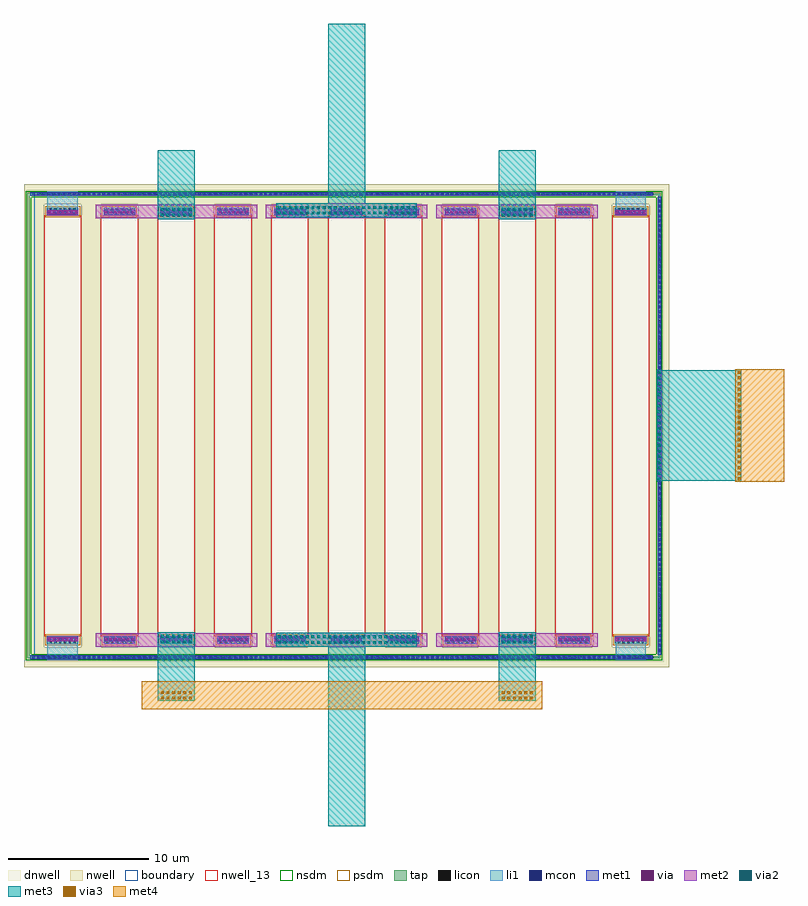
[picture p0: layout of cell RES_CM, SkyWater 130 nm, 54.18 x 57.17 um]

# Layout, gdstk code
from math import pi, radians
import gdstk
lib = gdstk.Library(unit=1e-6, precision=1e-09)
def R(c, l, rs):  # rectangles x0, y0, x1, y1
    for r in rs: c.add(gdstk.rectangle(r[:2], r[2:], *l))
def A(c, l, x, y, w, h, nx, ny, dx, dy):  # array of equal rectangles
    R(c, l, [(x+i*dx, y+j*dy, x+i*dx+w, y+j*dy+h) for i in range(nx) for j in range(ny)])
nwell_13 = (64, 13)
dnwell = (64, 18)
nwell = (64, 20)
tap = (65, 44)
licon = (66, 44)
li1 = (67, 20)
mcon = (67, 44)
met1 = (68, 20)
via = (68, 44)
met2 = (69, 20)
via2 = (69, 44)
met3 = (70, 20)
via3 = (70, 44)
met4 = (71, 20)
nsdm = (93, 44)
psdm = (94, 20)
boundary = (235, 4)

sky130_fd_pr__res_iso_pw = lib.new_cell('sky130_fd_pr__res_iso_pw_2UCCL9')
A(sky130_fd_pr__res_iso_pw, nwell_13, -21.575, -15, 2.65, 30, 11, 1, 4.05, 0)
R(sky130_fd_pr__res_iso_pw, dnwell, [(-22.839,-16.82,22.605,16.82)])
A(sky130_fd_pr__res_iso_pw, nwell, -18.925, -15.79, 1.4, 31.58, 10, 1, 4.05, 0)
R(sky130_fd_pr__res_iso_pw, nwell, [(-23.005,-17.22,23.005,-15.79), (-23.005,-15.79,-21.575,15.79), (21.575,-15.79,23.005,15.79), (-23.005,15.79,23.005,17.22)])
A(sky130_fd_pr__res_iso_pw, tap, -21.375, -15.53, 2.25, 0.53, 11, 2, 4.05, 30.53)
R(sky130_fd_pr__res_iso_pw, tap, [(-22.769,-16.59,22.375,-16.42), (-22.769,-16.589,-22.599,16.585), (22.205,-16.42,22.375,16.42), (-22.768,16.42,22.375,16.59)])
A(sky130_fd_pr__res_iso_pw, licon, -21.845, -16.59, 0.17, 0.17, 129, 2, 0.34, 33.01)
A(sky130_fd_pr__res_iso_pw, licon, 22.205, -16.065, 0.17, 0.17, 1, 95, 0, 0.34)
A(sky130_fd_pr__res_iso_pw, licon, -21.185, -15.52, 0.17, 0.17, 6, 2, 0.34, 0.34)
A(sky130_fd_pr__res_iso_pw, licon, -17.135, -15.52, 0.17, 0.17, 6, 2, 0.34, 0.34)
A(sky130_fd_pr__res_iso_pw, licon, -13.085, -15.52, 0.17, 0.17, 6, 2, 0.34, 0.34)
A(sky130_fd_pr__res_iso_pw, licon, -9.035, -15.52, 0.17, 0.17, 6, 2, 0.34, 0.34)
A(sky130_fd_pr__res_iso_pw, licon, -4.985, -15.52, 0.17, 0.17, 6, 2, 0.34, 0.34)
A(sky130_fd_pr__res_iso_pw, licon, -0.935, -15.52, 0.17, 0.17, 6, 2, 0.34, 0.34)
A(sky130_fd_pr__res_iso_pw, licon, 3.115, -15.52, 0.17, 0.17, 6, 2, 0.34, 0.34)
A(sky130_fd_pr__res_iso_pw, licon, 7.165, -15.52, 0.17, 0.17, 6, 2, 0.34, 0.34)
A(sky130_fd_pr__res_iso_pw, licon, 11.215, -15.52, 0.17, 0.17, 6, 2, 0.34, 0.34)
A(sky130_fd_pr__res_iso_pw, licon, 15.265, -15.52, 0.17, 0.17, 6, 2, 0.34, 0.34)
A(sky130_fd_pr__res_iso_pw, licon, 19.315, -15.52, 0.17, 0.17, 6, 2, 0.34, 0.34)
A(sky130_fd_pr__res_iso_pw, licon, -21.185, 15.01, 0.17, 0.17, 6, 2, 0.34, 0.34)
A(sky130_fd_pr__res_iso_pw, licon, -17.135, 15.01, 0.17, 0.17, 6, 2, 0.34, 0.34)
A(sky130_fd_pr__res_iso_pw, licon, -13.085, 15.01, 0.17, 0.17, 6, 2, 0.34, 0.34)
A(sky130_fd_pr__res_iso_pw, licon, -9.035, 15.01, 0.17, 0.17, 6, 2, 0.34, 0.34)
A(sky130_fd_pr__res_iso_pw, licon, -4.985, 15.01, 0.17, 0.17, 6, 2, 0.34, 0.34)
A(sky130_fd_pr__res_iso_pw, licon, -0.935, 15.01, 0.17, 0.17, 6, 2, 0.34, 0.34)
A(sky130_fd_pr__res_iso_pw, licon, 3.115, 15.01, 0.17, 0.17, 6, 2, 0.34, 0.34)
A(sky130_fd_pr__res_iso_pw, licon, 7.165, 15.01, 0.17, 0.17, 6, 2, 0.34, 0.34)
A(sky130_fd_pr__res_iso_pw, licon, 11.215, 15.01, 0.17, 0.17, 6, 2, 0.34, 0.34)
A(sky130_fd_pr__res_iso_pw, licon, 15.265, 15.01, 0.17, 0.17, 6, 2, 0.34, 0.34)
A(sky130_fd_pr__res_iso_pw, licon, 19.315, 15.01, 0.17, 0.17, 6, 2, 0.34, 0.34)
A(sky130_fd_pr__res_iso_pw, li1, -17.285, -15.53, 2.17, 0.53, 9, 2, 4.05, 30.53)
R(sky130_fd_pr__res_iso_pw, li1, [(-21.335,-16.704,-19.165,-15), (19.165,-16.701,21.335,-15), (-21.335,15,-19.165,16.71)])
A(sky130_fd_pr__res_iso_pw, mcon, -21.235, -15.305, 0.17, 0.17, 6, 2, 0.36, 30.435)
A(sky130_fd_pr__res_iso_pw, mcon, -17.185, -15.305, 0.17, 0.17, 6, 2, 0.36, 30.435)
A(sky130_fd_pr__res_iso_pw, mcon, -13.135, -15.305, 0.17, 0.17, 6, 2, 0.36, 30.435)
A(sky130_fd_pr__res_iso_pw, mcon, -9.085, -15.305, 0.17, 0.17, 6, 2, 0.36, 30.435)
A(sky130_fd_pr__res_iso_pw, mcon, -5.035, -15.305, 0.17, 0.17, 6, 2, 0.36, 30.435)
A(sky130_fd_pr__res_iso_pw, mcon, -0.985, -15.305, 0.17, 0.17, 6, 2, 0.36, 30.435)
A(sky130_fd_pr__res_iso_pw, mcon, 3.065, -15.305, 0.17, 0.17, 6, 2, 0.36, 30.435)
A(sky130_fd_pr__res_iso_pw, mcon, 7.115, -15.305, 0.17, 0.17, 6, 2, 0.36, 30.435)
A(sky130_fd_pr__res_iso_pw, mcon, 11.165, -15.305, 0.17, 0.17, 6, 2, 0.36, 30.435)
A(sky130_fd_pr__res_iso_pw, mcon, 15.215, -15.305, 0.17, 0.17, 6, 2, 0.36, 30.435)
A(sky130_fd_pr__res_iso_pw, mcon, 19.265, -15.305, 0.17, 0.17, 6, 2, 0.36, 30.435)
A(sky130_fd_pr__res_iso_pw, met1, -21.375, -15.38, 2.25, 0.325, 11, 1, 4.05, 0)
R(sky130_fd_pr__res_iso_pw, met1, [(-21.375,15.055,-19.125,15.38), (-21.375,15.055,-19.125,15.38), (-17.325,15.055,-15.075,15.38), (-17.325,15.055,-15.075,15.38), (-13.275,15.055,-11.025,15.38), (-13.275,15.055,-11.025,15.38), (-9.225,15.055,-6.975,15.38), (-9.225,15.055,-6.975,15.38), (-5.175,15.055,-2.925,15.38), (-5.175,15.055,-2.925,15.38), (-1.125,15.055,1.125,15.38), (-1.125,15.055,1.125,15.38), (2.925,15.055,5.175,15.38), (2.925,15.055,5.175,15.38), (6.975,15.055,9.225,15.38), (6.975,15.055,9.225,15.38), (11.025,15.055,13.275,15.38), (11.025,15.055,13.275,15.38), (15.075,15.055,17.325,15.38), (15.075,15.055,17.325,15.38), (19.125,15.055,21.375,15.38)])
R(sky130_fd_pr__res_iso_pw, nsdm, [(-22.892,-16.715,22.5,-16.295), (-22.892,-16.295,-22.472,16.295), (22.08,-16.295,22.5,16.295), (-22.892,16.295,22.5,16.715)])
A(sky130_fd_pr__res_iso_pw, psdm, -21.5, -15.655, 2.5, 0.78, 11, 1, 4.05, 0)
A(sky130_fd_pr__res_iso_pw, psdm, -21.5, 14.875, 2.5, 0.78, 3, 1, 4.05, 0)
A(sky130_fd_pr__res_iso_pw, psdm, -13.4, 14.875, 2.5, 0.78, 4, 1, 4.05, 0)
A(sky130_fd_pr__res_iso_pw, psdm, -1.25, 14.875, 2.5, 0.78, 6, 1, 4.05, 0)
R(sky130_fd_pr__res_iso_pw, boundary, [(-22.29,-16.505,22.29,16.505)])

via_new_10 = lib.new_cell('via_new$10')
A(via_new_10, mcon, 0.135, -0.085, 0.17, 0.17, 123, 1, 0.36, 0)
via_new_10.add(gdstk.FlexPath([(0,0),(44.36,0)], 0.26, ends="flush", simple_path=True, layer=67, datatype=20))  # li1
via_new_10.add(gdstk.FlexPath([(0,0),(44.36,0)], 0.26, ends="flush", simple_path=True, layer=68, datatype=20))  # met1

via_new_11 = lib.new_cell('via_new$11')
A(via_new_11, mcon, 0.235, -0.085, 0.17, 0.17, 90, 1, 0.36, 0)
via_new_11.add(gdstk.FlexPath([(0,0),(32.68,0)], 0.26, ends="flush", simple_path=True, layer=67, datatype=20))  # li1
via_new_11.add(gdstk.FlexPath([(0,0),(32.68,0)], 0.26, ends="flush", simple_path=True, layer=68, datatype=20))  # met1

via_new_9 = lib.new_cell('via_new$9')
A(via_new_9, via3, 0.1, -0.3, 0.2, 0.2, 6, 2, 0.4, 0.4)
via_new_9.add(gdstk.FlexPath([(0,0),(2.4,0)], 0.8, ends="flush", simple_path=True, layer=70, datatype=20))  # met3
via_new_9.add(gdstk.FlexPath([(0,0),(2.4,0)], 0.8, ends="flush", simple_path=True, layer=71, datatype=20))  # met4

via_new_6 = lib.new_cell('via_new$6')
A(via_new_6, via3, 0.1, -0.1, 0.2, 0.2, 20, 1, 0.4, 0)
via_new_6.add(gdstk.FlexPath([(0,0),(8,0)], 0.33, ends="flush", simple_path=True, layer=70, datatype=20))  # met3
via_new_6.add(gdstk.FlexPath([(0,0),(8,0)], 0.33, ends="flush", simple_path=True, layer=71, datatype=20))  # met4

via_new_7 = lib.new_cell('via_new$7')
A(via_new_7, via, 0.085, -0.075, 0.15, 0.15, 25, 1, 0.32, 0)
A(via_new_7, via2, 0.1, -0.1, 0.2, 0.2, 20, 1, 0.4, 0)
via_new_7.add(gdstk.FlexPath([(0,0),(8,0)], 0.33, ends="flush", simple_path=True, layer=68, datatype=20))  # met1
via_new_7.add(gdstk.FlexPath([(0,0),(8,0)], 0.33, ends="flush", simple_path=True, layer=70, datatype=20))  # met3
via_new_7.add(gdstk.FlexPath([(0,0),(8,0)], 0.33, ends="flush", simple_path=True, layer=69, datatype=20))  # met2

via_new = lib.new_cell('via_new')
A(via_new, via2, 0.225, -0.3, 0.2, 0.2, 6, 2, 0.4, 0.4)
via_new.add(gdstk.FlexPath([(0,0),(2.65,0)], 1, ends="flush", simple_path=True, layer=70, datatype=20))  # met3
via_new.add(gdstk.FlexPath([(0,0),(2.65,0)], 1, ends="flush", simple_path=True, layer=69, datatype=20))  # met2

via_new_3 = lib.new_cell('via_new$3')
A(via_new_3, via, 0.09, -0.075, 0.15, 0.15, 7, 1, 0.32, 0)
via_new_3.add(gdstk.FlexPath([(0,0),(2.25,0)], 0.26, ends="flush", simple_path=True, layer=68, datatype=20))  # met1
via_new_3.add(gdstk.FlexPath([(0,0),(2.25,0)], 0.26, ends="flush", simple_path=True, layer=69, datatype=20))  # met2

via_new_2 = lib.new_cell('via_new$2')
A(via_new_2, via2, 0.1, -0.3, 0.2, 0.2, 25, 2, 0.4, 0.4)
via_new_2.add(gdstk.FlexPath([(0,0),(10,0)], 1, ends="flush", simple_path=True, layer=70, datatype=20))  # met3
via_new_2.add(gdstk.FlexPath([(0,0),(10,0)], 1, ends="flush", simple_path=True, layer=69, datatype=20))  # met2

res_cm = lib.new_cell('RES_CM')
R(res_cm, li1, [(41.455,31.505,43.625,33.218)])
A(res_cm, met2, 4.383, 0.751, 11.513, 0.977, 3, 1, 12.15, 0)
A(res_cm, met2, 4.384, 31.281, 11.513, 0.977, 3, 1, 12.15, 0)
R(res_cm, met3, [(20.969,-12.031,23.615,1.753), (8.829,-3.112,11.475,1.753), (33.129,-3.112,35.775,1.753), (44.406,12.566,50.416,20.463), (8.829,31.219,11.475,36.128), (33.129,31.219,35.775,36.128), (20.969,31.359,23.615,45.143)])
R(res_cm, met4, [(7.694,-3.701,36.224,-1.724), (50.005,12.512,53.463,20.515)])
res_cm.add(gdstk.Reference(sky130_fd_pr__res_iso_pw, (22.29,16.505)))
res_cm.add(gdstk.Reference(via_new_10, (-0.261,33.013)))
res_cm.add(gdstk.Reference(via_new_10, (-0.254,-0.005)))
res_cm.add(gdstk.Reference(via_new_11, (44.581,32.845), rotation=3*pi/2))
res_cm.add(gdstk.Reference(via_new_9, (33.252,-2.712)))
res_cm.add(gdstk.Reference(via_new_9, (8.952,-2.712)))
res_cm.add(gdstk.Reference(via_new_9, (33.252,-2.712)))
res_cm.add(gdstk.Reference(via_new_6, (50.251,20.515), rotation=3*pi/2))
res_cm.add(gdstk.Reference(via_new_7, (44.58,20.505), rotation=3*pi/2))
res_cm.add(gdstk.Reference(via_new, (8.815,1.287)))
res_cm.add(gdstk.Reference(via_new, (8.815,31.723)))
res_cm.add(gdstk.Reference(via_new, (33.115,31.723)))
res_cm.add(gdstk.Reference(via_new, (33.115,31.723)))
res_cm.add(gdstk.Reference(via_new, (33.115,1.287)))
res_cm.add(gdstk.Reference(via_new_3, (33.315,31.723)))
res_cm.add(gdstk.Reference(via_new_3, (33.315,1.287)))
res_cm.add(gdstk.Reference(via_new_3, (0.915,31.723)))
res_cm.add(gdstk.Reference(via_new_3, (4.965,31.723)))
res_cm.add(gdstk.Reference(via_new_3, (9.015,31.723)))
res_cm.add(gdstk.Reference(via_new_3, (13.065,31.723)))
res_cm.add(gdstk.Reference(via_new_3, (17.115,31.723)))
res_cm.add(gdstk.Reference(via_new_3, (21.165,31.723)))
res_cm.add(gdstk.Reference(via_new_3, (25.215,31.723)))
res_cm.add(gdstk.Reference(via_new_3, (29.265,31.723)))
res_cm.add(gdstk.Reference(via_new_3, (33.315,31.723)))
res_cm.add(gdstk.Reference(via_new_3, (37.365,31.723)))
res_cm.add(gdstk.Reference(via_new_3, (41.415,31.723)))
res_cm.add(gdstk.Reference(via_new_3, (0.915,1.287)))
res_cm.add(gdstk.Reference(via_new_3, (4.965,1.287)))
res_cm.add(gdstk.Reference(via_new_3, (9.015,1.287)))
res_cm.add(gdstk.Reference(via_new_3, (13.065,1.287)))
res_cm.add(gdstk.Reference(via_new_3, (17.115,1.287)))
res_cm.add(gdstk.Reference(via_new_3, (21.165,1.287)))
res_cm.add(gdstk.Reference(via_new_3, (25.215,1.287)))
res_cm.add(gdstk.Reference(via_new_3, (29.265,1.287)))
res_cm.add(gdstk.Reference(via_new_3, (37.365,1.287)))
res_cm.add(gdstk.Reference(via_new_3, (41.415,1.287)))
res_cm.add(gdstk.Reference(via_new_2, (17.28,31.865)))
res_cm.add(gdstk.Reference(via_new_2, (17.279,1.256)))

lib.write_gds('RES_CM.gds')
